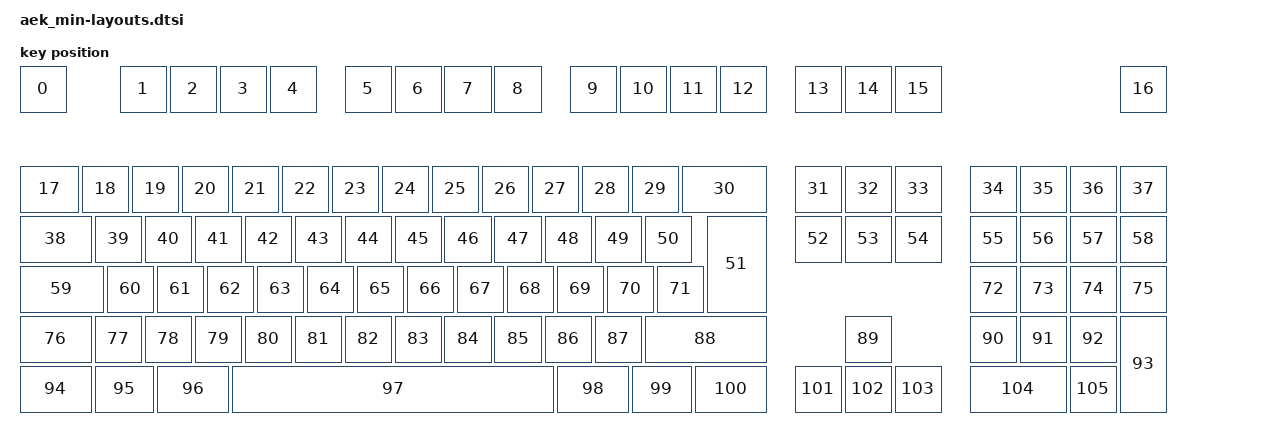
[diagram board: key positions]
#include <physical_layouts.dtsi>

/ {
    physical_layout0: physical_layout_0 {
        compatible = "zmk,physical-layout";
        display-name = "Default";

        kscan = <&kscan0>;
        transform = <&matrix_transform>;

        keys  //                     w   h    x    y     rot    rx    ry
            = <&key_physical_attrs 100 100    0    0       0     0     0>
            , <&key_physical_attrs 100 100  200    0       0     0     0>
            , <&key_physical_attrs 100 100  300    0       0     0     0>
            , <&key_physical_attrs 100 100  400    0       0     0     0>
            , <&key_physical_attrs 100 100  500    0       0     0     0>
            , <&key_physical_attrs 100 100  650    0       0     0     0>
            , <&key_physical_attrs 100 100  750    0       0     0     0>
            , <&key_physical_attrs 100 100  850    0       0     0     0>
            , <&key_physical_attrs 100 100  950    0       0     0     0>
            , <&key_physical_attrs 100 100 1100    0       0     0     0>
            , <&key_physical_attrs 100 100 1200    0       0     0     0>
            , <&key_physical_attrs 100 100 1300    0       0     0     0>
            , <&key_physical_attrs 100 100 1400    0       0     0     0>
            , <&key_physical_attrs 100 100 1550    0       0     0     0>
            , <&key_physical_attrs 100 100 1650    0       0     0     0>
            , <&key_physical_attrs 100 100 1750    0       0     0     0>
            , <&key_physical_attrs 100 100 2200    0       0     0     0>
            , <&key_physical_attrs 125 100    0  200       0     0     0>
            , <&key_physical_attrs 100 100  125  200       0     0     0>
            , <&key_physical_attrs 100 100  225  200       0     0     0>
            , <&key_physical_attrs 100 100  325  200       0     0     0>
            , <&key_physical_attrs 100 100  425  200       0     0     0>
            , <&key_physical_attrs 100 100  525  200       0     0     0>
            , <&key_physical_attrs 100 100  625  200       0     0     0>
            , <&key_physical_attrs 100 100  725  200       0     0     0>
            , <&key_physical_attrs 100 100  825  200       0     0     0>
            , <&key_physical_attrs 100 100  925  200       0     0     0>
            , <&key_physical_attrs 100 100 1025  200       0     0     0>
            , <&key_physical_attrs 100 100 1125  200       0     0     0>
            , <&key_physical_attrs 100 100 1225  200       0     0     0>
            , <&key_physical_attrs 175 100 1325  200       0     0     0>
            , <&key_physical_attrs 100 100 1550  200       0     0     0>
            , <&key_physical_attrs 100 100 1650  200       0     0     0>
            , <&key_physical_attrs 100 100 1750  200       0     0     0>
            , <&key_physical_attrs 100 100 1900  200       0     0     0>
            , <&key_physical_attrs 100 100 2000  200       0     0     0>
            , <&key_physical_attrs 100 100 2100  200       0     0     0>
            , <&key_physical_attrs 100 100 2200  200       0     0     0>
            , <&key_physical_attrs 150 100    0  300       0     0     0>
            , <&key_physical_attrs 100 100  150  300       0     0     0>
            , <&key_physical_attrs 100 100  250  300       0     0     0>
            , <&key_physical_attrs 100 100  350  300       0     0     0>
            , <&key_physical_attrs 100 100  450  300       0     0     0>
            , <&key_physical_attrs 100 100  550  300       0     0     0>
            , <&key_physical_attrs 100 100  650  300       0     0     0>
            , <&key_physical_attrs 100 100  750  300       0     0     0>
            , <&key_physical_attrs 100 100  850  300       0     0     0>
            , <&key_physical_attrs 100 100  950  300       0     0     0>
            , <&key_physical_attrs 100 100 1050  300       0     0     0>
            , <&key_physical_attrs 100 100 1150  300       0     0     0>
            , <&key_physical_attrs 100 100 1250  300       0     0     0>
            , <&key_physical_attrs 125 200 1375  300       0     0     0>
            , <&key_physical_attrs 100 100 1550  300       0     0     0>
            , <&key_physical_attrs 100 100 1650  300       0     0     0>
            , <&key_physical_attrs 100 100 1750  300       0     0     0>
            , <&key_physical_attrs 100 100 1900  300       0     0     0>
            , <&key_physical_attrs 100 100 2000  300       0     0     0>
            , <&key_physical_attrs 100 100 2100  300       0     0     0>
            , <&key_physical_attrs 100 100 2200  300       0     0     0>
            , <&key_physical_attrs 175 100    0  400       0     0     0>
            , <&key_physical_attrs 100 100  175  400       0     0     0>
            , <&key_physical_attrs 100 100  275  400       0     0     0>
            , <&key_physical_attrs 100 100  375  400       0     0     0>
            , <&key_physical_attrs 100 100  475  400       0     0     0>
            , <&key_physical_attrs 100 100  575  400       0     0     0>
            , <&key_physical_attrs 100 100  675  400       0     0     0>
            , <&key_physical_attrs 100 100  775  400       0     0     0>
            , <&key_physical_attrs 100 100  875  400       0     0     0>
            , <&key_physical_attrs 100 100  975  400       0     0     0>
            , <&key_physical_attrs 100 100 1075  400       0     0     0>
            , <&key_physical_attrs 100 100 1175  400       0     0     0>
            , <&key_physical_attrs 100 100 1275  400       0     0     0>
            , <&key_physical_attrs 100 100 1900  400       0     0     0>
            , <&key_physical_attrs 100 100 2000  400       0     0     0>
            , <&key_physical_attrs 100 100 2100  400       0     0     0>
            , <&key_physical_attrs 100 100 2200  400       0     0     0>
            , <&key_physical_attrs 150 100    0  500       0     0     0>
            , <&key_physical_attrs 100 100  150  500       0     0     0>
            , <&key_physical_attrs 100 100  250  500       0     0     0>
            , <&key_physical_attrs 100 100  350  500       0     0     0>
            , <&key_physical_attrs 100 100  450  500       0     0     0>
            , <&key_physical_attrs 100 100  550  500       0     0     0>
            , <&key_physical_attrs 100 100  650  500       0     0     0>
            , <&key_physical_attrs 100 100  750  500       0     0     0>
            , <&key_physical_attrs 100 100  850  500       0     0     0>
            , <&key_physical_attrs 100 100  950  500       0     0     0>
            , <&key_physical_attrs 100 100 1050  500       0     0     0>
            , <&key_physical_attrs 100 100 1150  500       0     0     0>
            , <&key_physical_attrs 250 100 1250  500       0     0     0>
            , <&key_physical_attrs 100 100 1650  500       0     0     0>
            , <&key_physical_attrs 100 100 1900  500       0     0     0>
            , <&key_physical_attrs 100 100 2000  500       0     0     0>
            , <&key_physical_attrs 100 100 2100  500       0     0     0>
            , <&key_physical_attrs 100 200 2200  500       0     0     0>
            , <&key_physical_attrs 150 100    0  600       0     0     0>
            , <&key_physical_attrs 125 100  150  600       0     0     0>
            , <&key_physical_attrs 150 100  275  600       0     0     0>
            , <&key_physical_attrs 650 100  425  600       0     0     0>
            , <&key_physical_attrs 150 100 1075  600       0     0     0>
            , <&key_physical_attrs 125 100 1225  600       0     0     0>
            , <&key_physical_attrs 150 100 1350  600       0     0     0>
            , <&key_physical_attrs 100 100 1550  600       0     0     0>
            , <&key_physical_attrs 100 100 1650  600       0     0     0>
            , <&key_physical_attrs 100 100 1750  600       0     0     0>
            , <&key_physical_attrs 200 100 1900  600       0     0     0>
            , <&key_physical_attrs 100 100 2100  600       0     0     0>
            ;
    };
};
